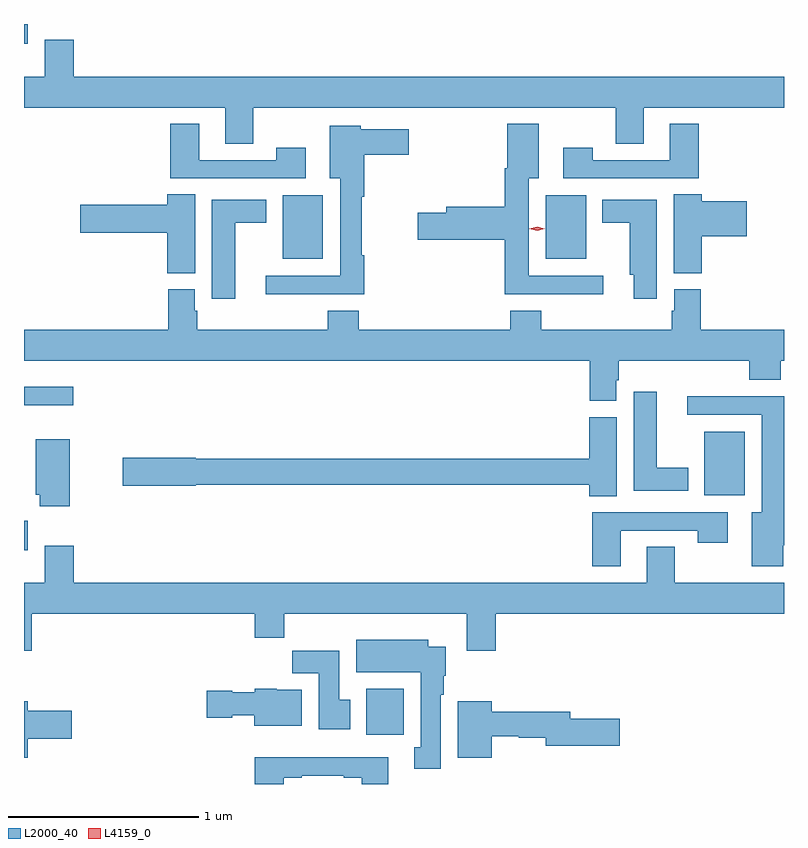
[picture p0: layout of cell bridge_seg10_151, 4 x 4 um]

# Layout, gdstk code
import gdstk
lib = gdstk.Library(unit=1e-6, precision=1e-09)
def R(c, l, rs):  # rectangles x0, y0, x1, y1
    for r in rs: c.add(gdstk.rectangle(r[:2], r[2:], *l))
def P(c, l, *ps):  # polygons
    for p in ps: c.add(gdstk.Polygon(p, *l))
L2000_40 = (2000, 40)
L4159_0 = (4159, 0)

bridge_seg10_151 = lib.new_cell('bridge_seg10_151')
R(bridge_seg10_151, L2000_40, [(301.373,1282.364,301.57,1282.606), (299.571,1283.336,299.59,1283.49), (303.152,1283.624,303.364,1283.959), (299.571,1284.099,299.83,1284.196), (300.932,1284.869,301.144,1285.204), (302.318,1284.869,302.53,1285.204), (299.571,1286,299.59,1286.105)])
P(bridge_seg10_151, L2000_40, [(300.777,1285.664),(302.686,1285.664),(302.686,1285.474),(302.833,1285.474),(302.833,1285.664),(303.571,1285.664),(303.571,1285.828),(299.834,1285.828),(299.834,1286.023),(299.681,1286.023),(299.681,1285.828),(299.571,1285.828),(299.571,1285.664),(300.629,1285.664),(300.629,1285.474),(300.777,1285.474)],
  [(302.62,1284.78),(302.227,1284.78),(302.227,1285.292),(302.281,1285.292),(302.281,1285.579),(302.114,1285.579),(302.114,1285.346),(302.102,1285.346),(302.102,1285.142),(301.793,1285.142),(301.793,1285.112),(301.644,1285.112),(301.644,1284.97),(302.102,1284.97),(302.102,1284.683),(302.62,1284.683)],
  [(303.122,1285.579),(302.969,1285.579),(302.969,1285.389),(302.565,1285.389),(302.565,1285.453),(302.409,1285.453),(302.409,1285.293),(303.122,1285.293)],
  [(301.054,1285.453),(300.898,1285.453),(300.898,1285.389),(300.493,1285.389),(300.493,1285.579),(300.341,1285.579),(300.341,1285.293),(301.054,1285.293)],
  [(301.361,1284.887),(301.348,1284.887),(301.348,1285.196),(301.361,1285.196),(301.361,1285.418),(301.597,1285.418),(301.597,1285.552),(301.344,1285.552),(301.344,1285.57),(301.181,1285.57),(301.181,1285.292),(301.235,1285.292),(301.235,1284.78),(300.843,1284.78),(300.843,1284.683),(301.361,1284.683)],
  [(300.472,1285.208),(300.326,1285.208),(300.326,1285.154),(299.868,1285.154),(299.868,1285.007),(300.326,1285.007),(300.326,1284.793),(300.472,1284.793)],
  [(303.137,1284.989),(303.376,1284.989),(303.376,1285.172),(303.137,1285.172),(303.137,1285.208),(302.99,1285.208),(302.99,1284.793),(303.137,1284.793)],
  [(300.682,1285.058),(300.847,1285.058),(300.847,1285.18),(300.56,1285.18),(300.56,1284.66),(300.682,1284.66)],
  [(302.902,1285.18),(302.615,1285.18),(302.615,1285.058),(302.759,1285.058),(302.759,1284.786),(302.78,1284.786),(302.78,1284.66),(302.902,1284.66)],
  [(302.689,1284.231),(302.702,1284.231),(302.702,1284.332),(303.389,1284.332),(303.389,1284.233),(303.554,1284.233),(303.554,1284.332),(303.571,1284.332),(303.571,1284.496),(303.134,1284.496),(303.134,1284.708),(302.993,1284.708),(302.993,1284.597),(302.981,1284.597),(302.981,1284.496),(302.294,1284.496),(302.294,1284.595),(302.129,1284.595),(302.129,1284.496),(301.334,1284.496),(301.334,1284.595),(301.169,1284.595),(301.169,1284.496),(300.482,1284.496),(300.482,1284.597),(300.469,1284.597),(300.469,1284.708),(300.329,1284.708),(300.329,1284.496),(299.571,1284.496),(299.571,1284.332),(302.549,1284.332),(302.549,1284.121),(302.689,1284.121)],
  [(303.067,1283.77),(302.902,1283.77),(302.902,1284.169),(302.78,1284.169),(302.78,1283.648),(303.067,1283.648)],
  [(303.568,1283.362),(303.571,1283.362),(303.571,1284.146),(303.063,1284.146),(303.063,1284.048),(303.455,1284.048),(303.455,1283.536),(303.401,1283.536),(303.401,1283.25),(303.568,1283.25)],
  [(302.692,1284.036),(302.546,1284.036),(302.546,1283.816),(300.474,1283.816),(300.474,1283.822),(300.09,1283.822),(300.09,1283.675),(300.474,1283.675),(300.474,1283.68),(302.546,1283.68),(302.546,1283.62),(302.692,1283.62)],
  [(299.812,1283.92),(299.633,1283.92),(299.633,1283.628),(299.654,1283.628),(299.654,1283.568),(299.812,1283.568)],
  [(302.713,1283.439),(303.118,1283.439),(303.118,1283.376),(303.274,1283.376),(303.274,1283.535),(302.561,1283.535),(302.561,1283.25),(302.713,1283.25)],
  [(299.612,1283),(300.785,1283),(300.785,1282.876),(300.941,1282.876),(300.941,1283),(301.901,1283),(301.901,1282.806),(302.054,1282.806),(302.054,1283),(303.571,1283),(303.571,1283.164),(302.997,1283.164),(302.997,1283.354),(302.849,1283.354),(302.849,1283.164),(299.834,1283.164),(299.834,1283.359),(299.681,1283.359),(299.681,1283.164),(299.571,1283.164),(299.571,1282.806),(299.612,1282.806)],
  [(301.765,1282.574),(301.78,1282.574),(301.78,1282.674),(301.792,1282.674),(301.792,1282.828),(301.699,1282.828),(301.699,1282.864),(301.319,1282.864),(301.319,1282.694),(301.658,1282.694),(301.658,1282.298),(301.625,1282.298),(301.625,1282.185),(301.765,1282.185)],
  [(301.288,1282.548),(301.231,1282.548),(301.231,1282.806),(300.982,1282.806),(300.982,1282.688),(301.121,1282.688),(301.121,1282.392),(301.288,1282.392)],
  [(301.033,1282.6),(300.9,1282.6),(300.9,1282.606),(300.786,1282.606),(300.786,1282.588),(300.666,1282.588),(300.666,1282.596),(300.534,1282.596),(300.534,1282.454),(300.666,1282.454),(300.666,1282.466),(300.782,1282.466),(300.782,1282.412),(301.033,1282.412)],
  [(302.032,1282.356),(302.175,1282.356),(302.175,1282.348),(302.318,1282.348),(302.318,1282.306),(302.707,1282.306),(302.707,1282.448),(302.446,1282.448),(302.446,1282.484),(302.032,1282.484),(302.032,1282.54),(301.853,1282.54),(301.853,1282.244),(302.032,1282.244)],
  [(299.59,1282.343),(299.821,1282.343),(299.821,1282.49),(299.59,1282.49),(299.59,1282.54),(299.571,1282.54),(299.571,1282.244),(299.59,1282.244)],
  [(300.937,1282.137),(301.033,1282.137),(301.033,1282.149),(301.253,1282.149),(301.253,1282.137),(301.349,1282.137),(301.349,1282.105),(301.489,1282.105),(301.489,1282.246),(300.785,1282.246),(300.785,1282.105),(300.937,1282.105)])
P(bridge_seg10_151, L4159_0, [(302.272,1285.017),(302.231,1285.027),(302.231,1285.027),(302.231,1285.027),(302.272,1285.037),(302.313,1285.027),(302.313,1285.027),(302.313,1285.027)])

lib.write_gds('bridge_seg10_151.gds')
